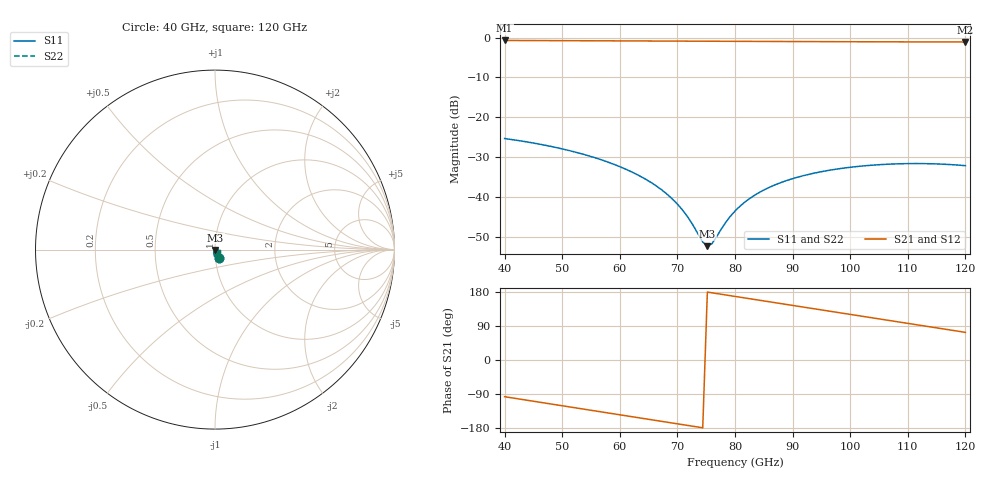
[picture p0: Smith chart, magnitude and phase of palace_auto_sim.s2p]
#  GHZ S DB R 50
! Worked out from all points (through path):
!   101 points, 40 GHz to 120 GHz, reference 50 ohm
!   highest |S21| = -0.74 dB at 40 GHz (marker M1); lowest = -1.1 dB at 120 GHz (marker M2)
!   group delay of S21, straight-line fit = 6.6 ps
!   lowest |S11| = -52.2 dB at 75.2 GHz (marker M3), VSWR 1.00, Z = 50.1 - j0.206 ohm
!   |S11| at or under -10 dB: start of sweep to end of sweep
!   |S22| runs from -52.3 to -25.3 dB; largest |S21 - S12| = 1e-13
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40  -25.28 -63.9  -0.74 -96.9  -0.74 -96.9  -25.26 -64.0
46.4  -26.77 -77.4  -0.77 -112.1  -0.77 -112.1  -26.75 -77.6
53.6  -29.19 -92.2  -0.81 -129.3  -0.81 -129.3  -29.15 -92.4
61.6  -33.31 -107.3  -0.86 -148.4  -0.86 -148.4  -33.27 -107.6
64.8  -35.72 -112.1  -0.87 -156.0  -0.87 -156.0  -35.67 -112.5
67.2  -38.03 -114.7  -0.89 -161.7  -0.89 -161.7  -37.97 -115.1
69.6  -41.06 -115.1  -0.90 -167.5  -0.90 -167.5  -40.99 -115.7
71.2  -43.72 -112.5  -0.91 -171.3  -0.91 -171.3  -43.64 -113.3
72.8  -47.16 -104.1  -0.92 -175.1  -0.92 -175.1  -47.09 -105.1
74.4  -51.15 -79.3  -0.92 -178.9  -0.92 -178.9  -51.15 -80.9
75.2  -52.20 -56.7  -0.93 179.2  -0.93 179.2  -52.30 -58.2
76  -51.58 -33.2  -0.93 177.3  -0.93 177.3  -51.74 -34.2
78.4  -46.22 -0.1  -0.95 171.6  -0.95 171.6  -46.31 -0.2
80  -43.42 5.3  -0.95 167.8  -0.95 167.8  -43.46 5.2
82.4  -40.42 6.7  -0.97 162.1  -0.97 162.1  -40.44 6.6
85.6  -37.73 4.1  -0.98 154.5  -0.98 154.5  -37.73 3.9
89.6  -35.49 -1.6  -1.01 145.0  -1.01 145.0  -35.48 -1.8
93.6  -33.98 -8.3  -1.03 135.5  -1.03 135.5  -33.97 -8.5
100.8  -32.33 -21.5  -1.06 118.5  -1.06 118.5  -32.33 -21.7
107.2  -31.66 -33.9  -1.09 103.3  -1.09 103.3  -31.66 -34.1
113.6  -31.57 -46.8  -1.11 88.1  -1.11 88.1  -31.58 -46.9
120  -32.06 -60.1  -1.13 73.0  -1.13 73.0  -32.10 -60.0
